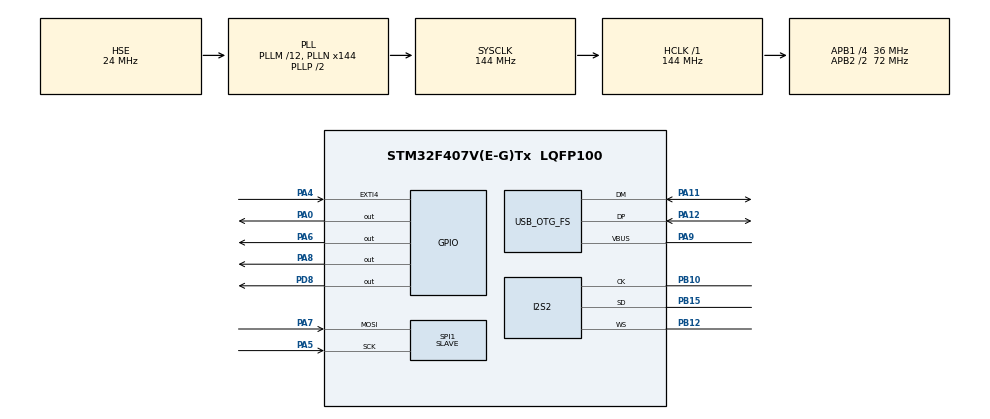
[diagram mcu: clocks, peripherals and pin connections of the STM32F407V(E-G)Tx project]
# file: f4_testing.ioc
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Dma.Request0=SPI2_TX
Dma.SPI2_TX.0.Direction=DMA_MEMORY_TO_PERIPH
Dma.SPI2_TX.0.FIFOMode=DMA_FIFOMODE_DISABLE
Dma.SPI2_TX.0.Instance=DMA1_Stream4
Dma.SPI2_TX.0.MemDataAlignment=DMA_MDATAALIGN_HALFWORD
Dma.SPI2_TX.0.MemInc=DMA_MINC_ENABLE
Dma.SPI2_TX.0.Mode=DMA_CIRCULAR
Dma.SPI2_TX.0.PeriphDataAlignment=DMA_PDATAALIGN_HALFWORD
Dma.SPI2_TX.0.PeriphInc=DMA_PINC_DISABLE
Dma.SPI2_TX.0.Priority=DMA_PRIORITY_LOW
I2S2.AudioFreq=I2S_AUDIOFREQ_48K
I2S2.AudioFreqCustom=44100
I2S2.ErrorAudioFreq=0.0 %
I2S2.FullDuplexMode=I2S_FULLDUPLEXMODE_DISABLE
I2S2.Instance=SPI$Index
I2S2.RealAudioFreq=48.0 KHz
I2S2.Standard=I2S_STANDARD_PHILIPS
I2S2.VirtualMode=I2S_MODE_MASTER
Mcu.Family=STM32F4
Mcu.Name=STM32F407V(E-G)Tx
Mcu.Package=LQFP100
NVIC.DMA1_Stream4_IRQn=true\:0\:0\:false\:false\:true\:false\:true
NVIC.EXTI4_IRQn=true\:0\:0\:false\:false\:true\:true\:true
NVIC.OTG_FS_IRQn=true\:0\:0\:false\:false\:true\:false\:true
NVIC.PriorityGroup=NVIC_PRIORITYGROUP_4
PA0-WKUP.Signal=GPIO_Output
PA11.Mode=Host_Only
PA11.Signal=USB_OTG_FS_DM
PA12.Mode=Host_Only
PA12.Signal=USB_OTG_FS_DP
PA13.Mode=Trace_Asynchronous_SW
PA13.Signal=SYS_JTMS-SWDIO
PA14.Mode=Trace_Asynchronous_SW
PA14.Signal=SYS_JTCK-SWCLK
PA4.GPIO_ModeDefaultEXTI=GPIO_MODE_IT_FALLING
PA4.Signal=GPXTI4
PA5.Mode=RX_Only_Simplex_Unidirect_Slave
PA5.Signal=SPI1_SCK
PA6.Signal=GPIO_Output
PA7.Mode=RX_Only_Simplex_Unidirect_Slave
PA7.Signal=SPI1_MOSI
PA8.Signal=GPIO_Output
PA9.Mode=Activate_VBUS
PA9.Signal=USB_OTG_FS_VBUS
PB10.Mode=Half_Duplex_Master
PB10.Signal=I2S2_CK
PB12.Mode=Half_Duplex_Master
PB12.Signal=I2S2_WS
PB15.Mode=Half_Duplex_Master
PB15.Signal=I2S2_SD
PB3.Mode=Trace_Asynchronous_SW
PB3.Signal=SYS_JTDO-SWO
PD8.GPIO_PuPd=GPIO_NOPULL
PD8.Signal=GPIO_Output
PH0-OSC_IN.Mode=HSE-External-Oscillator
PH0-OSC_IN.Signal=RCC_OSC_IN
PH1-OSC_OUT.Mode=HSE-External-Oscillator
PH1-OSC_OUT.Signal=RCC_OSC_OUT
ProjectManager.HeapSize=0x200
ProjectManager.StackSize=0x400
ProjectManager.TargetToolchain=STM32CubeIDE
RCC.48MHZClocksFreq_Value=48000000
RCC.AHBFreq_Value=144000000
RCC.APB1CLKDivider=RCC_HCLK_DIV4
RCC.APB1Freq_Value=36000000
RCC.APB1TimFreq_Value=72000000
RCC.APB2CLKDivider=RCC_HCLK_DIV2
RCC.APB2Freq_Value=72000000
RCC.APB2TimFreq_Value=144000000
RCC.CortexFreq_Value=144000000
RCC.HCLKFreq_Value=144000000
RCC.HSE_VALUE=24000000
RCC.HSI_VALUE=16000000
RCC.LSE_VALUE=32768
RCC.PLLI2SN=96
RCC.PLLI2SR=5
RCC.PLLM=12
RCC.PLLN=144
RCC.PLLQ=6
RCC.SYSCLKFreq_VALUE=144000000
RCC.SYSCLKSource=RCC_SYSCLKSOURCE_PLLCLK
RCC.VCOOutputFreq_Value=288000000
SPI1.DataSize=SPI_DATASIZE_16BIT
SPI1.Direction=SPI_DIRECTION_2LINES_RXONLY
SPI1.Mode=SPI_MODE_SLAVE
SPI1.VirtualType=VM_SLAVE
USB_HOST.BSP.number=1
USB_HOST.USBH_HandleTypeDef-AUDIO_FS=hUsbHostFS
USB_HOST.VirtualModeFS=Audio
USB_HOST0.BSP.STBoard=false
USB_HOST0.BSP.api=Unknown
USB_HOST0.BSP.i2caddr=0
USB_HOST0.BSP.instance=PA8
USB_HOST0.BSP.ip=GPIO
USB_HOST0.BSP.mode=Output
USB_HOST0.BSP.name=Drive_VBUS_FS
USB_HOST0.BSP.solution=PA8
USB_OTG_FS.VirtualMode=Host_Only
USB_OTG_FS.phy_itface=HCD_PHY_EMBEDDED
VP_USB_HOST_VS_USB_HOST_AUDIO_FS.Mode=AUDIO_FS
board=custom

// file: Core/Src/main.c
/* USER CODE BEGIN Header */
/**
  ******************************************************************************
  * @file           : main.c
  * @brief          : Main program body
  ******************************************************************************
  * @attention
  *
  * <h2><center>&copy; Copyright (c) 2021 STMicroelectronics.
  * All rights reserved.</center></h2>
  *
  * This software component is licensed by ST under BSD 3-Clause license,
  * the "License"; You may not use this file except in compliance with the
  * License. You may obtain a copy of the License at:
  *                        opensource.org/licenses/BSD-3-Clause
  *
  ******************************************************************************
  */
/* USER CODE END Header */
#include "main.h"
//#include "usb_host.h"

/* USER CODE BEGIN Includes */
#include "usbh_MIDI.h"
#include "MIDI_application.h"
#include "soundgen.h"
#include "genwave.h"
#include "adsr.h"

USBH_HandleTypeDef hUSBHost; /* USB Host handle */

MIDI_ApplicationTypeDef Appli_state = APPLICATION_IDLE;
/* USER CODE END Includes */

I2S_HandleTypeDef hi2s2;
DMA_HandleTypeDef hdma_spi2_tx;

SPI_HandleTypeDef hspi1;

void SystemClock_Config(void);
static void MX_GPIO_Init(void);
static void MX_DMA_Init(void);
static void MX_I2S2_Init(void);
static void MX_SPI1_Init(void);
//void MX_USB_HOST_Process(void);

/* USER CODE BEGIN PFP */
static void USBH_UserProcess_callback(USBH_HandleTypeDef *pHost, uint8_t vId);

/* USER CODE END PFP */

/* USER CODE BEGIN 0 */

extern volatile int16_t wavetable[];
extern const int TABLESIZE;

extern int16_t buffer[];
extern const int BUFFERSIZE;

extern char active_notes[];
extern int active_count;
int c_count = 0;

void HAL_GPIO_EXTI_Callback(uint16_t GPIO_Pin) {
	// TODO clear all active notes when new waveform (or params) recv'd
	c_count++;
	HAL_SPI_Receive(&hspi1, wavetable, TABLESIZE + 2, HAL_MAX_DELAY);
	scale_wavetable();
	uint8_t attack = wavetable[TABLESIZE] & 0x00ff;
	uint8_t decay = (wavetable[TABLESIZE] & 0xff00) >> 8;
	uint8_t sustain = wavetable[TABLESIZE + 1] & 0x00ff;
	uint8_t release = (wavetable[TABLESIZE + 1] & 0xff00) >> 8;
	initializeParameters(attack, decay, sustain, release);
}

void HAL_SPI_RxCpltCallback(SPI_HandleTypeDef *hspi1) {
//	HAL_SPI_Receive_DMA(&hspi1, (uint8_t *) wavetable, TABLESIZE);
}

void HAL_I2S_TxHalfCpltCallback(I2S_HandleTypeDef *hi2s) {
	half_complete();
}

void HAL_I2S_TxCpltCallback(I2S_HandleTypeDef *hi2s) {
	full_complete();
}

/*====================================================================================================*/
/**
 * @brief  User Process function callback
 * @param  phost: Host Handle
 * @param  id: Host Library user message ID
 * @retval none
 */
static void USBH_UserProcess_callback(USBH_HandleTypeDef *pHost, uint8_t vId)
{
	switch (vId)
	{
	case HOST_USER_SELECT_CONFIGURATION:
		break;
	case HOST_USER_DISCONNECTION:
		Appli_state = APPLICATION_DISCONNECT;
		break;
	case HOST_USER_CLASS_ACTIVE:
		Appli_state = APPLICATION_READY;
		break;
	case HOST_USER_CONNECTION:
		Appli_state = APPLICATION_START;
		break;
	default:
		break;
	}
}

/* USER CODE END 0 */

int main(void)
{

  /* MCU Configuration--------------------------------------------------------*/

  /* Reset of all peripherals, Initializes the Flash interface and the Systick. */
  HAL_Init();

  /* Configure the system clock */
  SystemClock_Config();

  /* Initialize all configured peripherals */
  MX_GPIO_Init();
  MX_DMA_Init();
  MX_I2S2_Init();
  MX_SPI1_Init();
//  MX_USB_HOST_Init();
  /* USER CODE BEGIN 2 */
  //HAL_UART_Receive_DMA(&huart4, (uint8_t *)uart_rcv_buf, 1);
  /* USER CODE END 2 */

  /* Infinite loop */
  /* USER CODE BEGIN WHILE */

  gen_sine();
//  gen_square();
//  gen_sawtooth();

//    gen_crest_sine(23); //theoretical max with no clipping
//  gen_crest_sine(25);
//  gen_crest_sine(999);

  init_note_steps();
  initializeParameters(
		  0x01, //attack
		  0xff, //decay
		  0xff, //sustain = fraction of peak ampl the wave settles at after decay
		  0x01 //release (leave as is for now)
	);

  fill_buffer(buffer, BUFFERSIZE);

  //HAL_SPI_Receive(&hspi1, (uint8_t *) wavetable, TABLESIZE);
  HAL_I2S_Transmit_DMA(&hi2s2, buffer, BUFFERSIZE);

  /*## Init Host Library ################################################*/
  	if (USBH_Init(&hUSBHost, USBH_UserProcess_callback, HOST_FS) != USBH_OK)
  		Error_Handler();

  	/*## Add Supported Class ##############################################*/
  	if (USBH_RegisterClass(&hUSBHost, USBH_MIDI_CLASS) != USBH_OK)
  		Error_Handler();

  	/*## Start Host Process ###############################################*/
  	if (USBH_Start(&hUSBHost) != USBH_OK)
  		Error_Handler();

  	HAL_GPIO_WritePin(GPIOD, GPIO_PIN_8, GPIO_PIN_SET);

//  	add_note(0); //lowest key
//  	add_note(87); //highest key

  	//add_note(48); // A0 = 440 Hz

  while (1)
  {
    /* USER CODE END WHILE */
//    MX_USB_HOST_Process();

    /* USER CODE BEGIN 3 */
	  MIDI_Application();
	  USBH_Process(&hUSBHost);
  }
  /* USER CODE END 3 */
}

void SystemClock_Config(void)
{
  RCC_OscInitTypeDef RCC_OscInitStruct = {0};
  RCC_ClkInitTypeDef RCC_ClkInitStruct = {0};
  RCC_PeriphCLKInitTypeDef PeriphClkInitStruct = {0};

  /** Configure the main internal regulator output voltage
  */
  __HAL_RCC_PWR_CLK_ENABLE();
  __HAL_PWR_VOLTAGESCALING_CONFIG(PWR_REGULATOR_VOLTAGE_SCALE1);
  /** Initializes the RCC Oscillators according to the specified parameters
  * in the RCC_OscInitTypeDef structure.
  */
  RCC_OscInitStruct.OscillatorType = RCC_OSCILLATORTYPE_HSE;
  RCC_OscInitStruct.HSEState = RCC_HSE_ON;
  RCC_OscInitStruct.PLL.PLLState = RCC_PLL_ON;
  RCC_OscInitStruct.PLL.PLLSource = RCC_PLLSOURCE_HSE;
  RCC_OscInitStruct.PLL.PLLM = 12;
  RCC_OscInitStruct.PLL.PLLN = 144;
  RCC_OscInitStruct.PLL.PLLP = RCC_PLLP_DIV2;
  RCC_OscInitStruct.PLL.PLLQ = 6;
  if (HAL_RCC_OscConfig(&RCC_OscInitStruct) != HAL_OK)
  {
    Error_Handler();
  }
  /** Initializes the CPU, AHB and APB buses clocks
  */
  RCC_ClkInitStruct.ClockType = RCC_CLOCKTYPE_HCLK|RCC_CLOCKTYPE_SYSCLK
                              |RCC_CLOCKTYPE_PCLK1|RCC_CLOCKTYPE_PCLK2;
  RCC_ClkInitStruct.SYSCLKSource = RCC_SYSCLKSOURCE_PLLCLK;
  RCC_ClkInitStruct.AHBCLKDivider = RCC_SYSCLK_DIV1;
  RCC_ClkInitStruct.APB1CLKDivider = RCC_HCLK_DIV4;
  RCC_ClkInitStruct.APB2CLKDivider = RCC_HCLK_DIV2;

  if (HAL_RCC_ClockConfig(&RCC_ClkInitStruct, FLASH_LATENCY_4) != HAL_OK)
  {
    Error_Handler();
  }
  PeriphClkInitStruct.PeriphClockSelection = RCC_PERIPHCLK_I2S;
  PeriphClkInitStruct.PLLI2S.PLLI2SN = 96;
  PeriphClkInitStruct.PLLI2S.PLLI2SR = 5;
  if (HAL_RCCEx_PeriphCLKConfig(&PeriphClkInitStruct) != HAL_OK)
  {
    Error_Handler();
  }
}

static void MX_I2S2_Init(void)
{

  hi2s2.Instance = SPI2;
  hi2s2.Init.Mode = I2S_MODE_MASTER_TX;
  hi2s2.Init.Standard = I2S_STANDARD_PHILIPS;
  hi2s2.Init.DataFormat = I2S_DATAFORMAT_16B;
  hi2s2.Init.MCLKOutput = I2S_MCLKOUTPUT_DISABLE;
  hi2s2.Init.AudioFreq = I2S_AUDIOFREQ_48K;
  hi2s2.Init.CPOL = I2S_CPOL_LOW;
  hi2s2.Init.ClockSource = I2S_CLOCK_PLL;
  hi2s2.Init.FullDuplexMode = I2S_FULLDUPLEXMODE_DISABLE;
  if (HAL_I2S_Init(&hi2s2) != HAL_OK)
  {
    Error_Handler();
  }

}

static void MX_SPI1_Init(void)
{

  /* SPI1 parameter configuration*/
  hspi1.Instance = SPI1;
  hspi1.Init.Mode = SPI_MODE_SLAVE;
  hspi1.Init.Direction = SPI_DIRECTION_2LINES_RXONLY;
  hspi1.Init.DataSize = SPI_DATASIZE_16BIT;
  hspi1.Init.CLKPolarity = SPI_POLARITY_LOW;
  hspi1.Init.CLKPhase = SPI_PHASE_1EDGE;
  hspi1.Init.NSS = SPI_NSS_SOFT;
  hspi1.Init.FirstBit = SPI_FIRSTBIT_MSB;
  hspi1.Init.TIMode = SPI_TIMODE_DISABLE;
  hspi1.Init.CRCCalculation = SPI_CRCCALCULATION_DISABLE;
  hspi1.Init.CRCPolynomial = 10;
  if (HAL_SPI_Init(&hspi1) != HAL_OK)
  {
    Error_Handler();
  }

}

static void MX_DMA_Init(void)
{

  /* DMA controller clock enable */
  __HAL_RCC_DMA1_CLK_ENABLE();

  /* DMA interrupt init */
  /* DMA1_Stream4_IRQn interrupt configuration */
  HAL_NVIC_SetPriority(DMA1_Stream4_IRQn, 0, 0);
  HAL_NVIC_EnableIRQ(DMA1_Stream4_IRQn);

}

static void MX_GPIO_Init(void)
{
  GPIO_InitTypeDef GPIO_InitStruct = {0};

  /* GPIO Ports Clock Enable */
  __HAL_RCC_GPIOH_CLK_ENABLE();
  __HAL_RCC_GPIOA_CLK_ENABLE();
  __HAL_RCC_GPIOB_CLK_ENABLE();
  __HAL_RCC_GPIOD_CLK_ENABLE();

  /*Configure GPIO pin Output Level */
  HAL_GPIO_WritePin(GPIOA, GPIO_PIN_0|GPIO_PIN_6|GPIO_PIN_8, GPIO_PIN_RESET);

  /*Configure GPIO pin Output Level */
  HAL_GPIO_WritePin(GPIOD, GPIO_PIN_8, GPIO_PIN_RESET);

  /*Configure GPIO pins : PA0 PA6 PA8 */
  GPIO_InitStruct.Pin = GPIO_PIN_0|GPIO_PIN_6|GPIO_PIN_8;
  GPIO_InitStruct.Mode = GPIO_MODE_OUTPUT_PP;
  GPIO_InitStruct.Pull = GPIO_NOPULL;
  GPIO_InitStruct.Speed = GPIO_SPEED_FREQ_LOW;
  HAL_GPIO_Init(GPIOA, &GPIO_InitStruct);

  /*Configure GPIO pin : PA4 */
  GPIO_InitStruct.Pin = GPIO_PIN_4;
  GPIO_InitStruct.Mode = GPIO_MODE_IT_FALLING;
  GPIO_InitStruct.Pull = GPIO_NOPULL;
  HAL_GPIO_Init(GPIOA, &GPIO_InitStruct);

  /*Configure GPIO pin : PD8 */
  GPIO_InitStruct.Pin = GPIO_PIN_8;
  GPIO_InitStruct.Mode = GPIO_MODE_OUTPUT_PP;
  GPIO_InitStruct.Pull = GPIO_NOPULL;
  GPIO_InitStruct.Speed = GPIO_SPEED_FREQ_LOW;
  HAL_GPIO_Init(GPIOD, &GPIO_InitStruct);

  /* EXTI interrupt init*/
  HAL_NVIC_SetPriority(EXTI4_IRQn, 0, 0);
  HAL_NVIC_EnableIRQ(EXTI4_IRQn);

}

void Error_Handler(void)
{
  __disable_irq();
  while (1)
  {
  }
}

/************************ (C) COPYRIGHT STMicroelectronics *****END OF FILE****/
